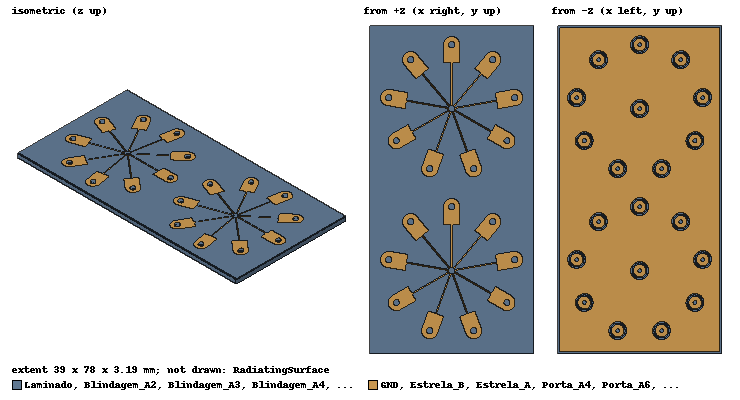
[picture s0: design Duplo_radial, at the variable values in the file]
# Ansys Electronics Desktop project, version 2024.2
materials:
  vacuum: permittivity=1
  ZYF300CA_C: permittivity=2.94 dielectric_loss_tangent=0.0016
  SAC305: permeability=1 conductivity=7575758
  PTFE_UT141: permittivity=2.036 dielectric_loss_tangent=0.0002
  copper: permeability=0.999991 conductivity=58000000

design Duplo_radial (HFSS, HFSS Hybrid Modal Network, model units mm)
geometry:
  Laminado [ZYF300CA_C] = box(corner=(-19.5mm, -39mm, 0mm), size=(39mm, 78mm, 1.52mm))
  GND = polyline(z=0mm, xy in mm: (-18.98, -38.48) (18.98, -38.48) (18.98, 38.48) (-18.98, 38.48) (-18.98, -38.48), closed, covered)
  Estrela_B = polyline(z=1.52mm, xy in mm: (-3.83186877, 3.59983476) (-4.02197034, 3.43312016) (-4.23220618, 3.29264506) (-4.4589791, 3.18081303) (-4.69840896, 3.09953754) (-4.94639905, 3.05020925) (-5.19870618, 3.03367216) (-5.45101331, 3.05020925) (-5.69900339, 3.09953754) (-5.93843325, 3.18081303) (-6.16520618, 3.29264506) (-6.37544202, 3.43312016) (-6.56554359, 3.59983476) (-6.73225819, 3.78993632) (-6.87273328, 4.00017216) (-6.98456531, 4.22694509) (-7.0658408, 4.46637495) (-7.1151691, 4.71436503) (-7.13170618, 4.96667216) (-7.1151691, 5.21897929) (-7.0658408, 5.46696938) (-7.01167434, 5.62653861) (-7.01513201, 5.6277971) (-5.54307732, 9.67223414) (-3.85585922, 9.05813697) (-0.41931985, 18.49995129) (-0.43, 18.50521815) (-0.52353483, 18.56771613) (-0.60811183, 18.64188817) (-0.66531093, 18.70711123) (-9.3674628, 13.68292151) (-8.4697128, 12.12797289) (-12.19708614, 9.97597289) (-12.42385906, 9.86414086) (-12.66328892, 9.78286538) (-12.91127901, 9.73353708) (-13.16358614, 9.717) (-13.41589327, 9.73353708) (-13.66388335, 9.78286538) (-13.90331321, 9.86414086) (-14.13008614, 9.97597289) (-14.34032198, 10.11644799) (-14.53042355, 10.28316259) (-14.69713814, 10.47326416) (-14.83761324, 10.6835) (-14.94944527, 10.91027293) (-15.03072076, 11.14970279) (-15.08004905, 11.39769287) (-15.09658614, 11.65) (-15.08004905, 11.90230713) (-15.03072076, 12.15029721) (-14.94944527, 12.38972707) (-14.83761324, 12.6165) (-14.69713814, 12.82673584) (-14.53042355, 13.01683741) (-14.34032198, 13.18355201) (-14.13008614, 13.32402711) (-14.13008614, 13.32402711) (-10.4027128, 15.47602711) (-9.5049628, 13.92107849) (-0.80281093, 18.94526822) (-0.83069621, 19.02741562) (-0.85264258, 19.13774747) (-0.86, 19.25) (-0.85922117, 19.26188271) (-10.7543419, 21.00665948) (-11.0661272, 19.23843716) (-15.30473977, 19.98581891) (-15.30410082, 19.98944259) (-15.46937506, 20.02231768) (-15.70880492, 20.10359316) (-15.93557785, 20.2154252) (-16.14581369, 20.35590029) (-16.33591525, 20.52261489) (-16.50262985, 20.71271646) (-16.64310495, 20.9229523) (-16.75493698, 21.14972523) (-16.83621247, 21.38915509) (-16.88554076, 21.63714517) (-16.90207785, 21.8894523) (-16.88554076, 22.14175943) (-16.83621247, 22.38974951) (-16.75493698, 22.62917938) (-16.64310495, 22.8559523) (-16.50262985, 23.06618814) (-16.33591525, 23.25628971) (-16.14581369, 23.42300431) (-15.93557785, 23.56347941) (-15.70880492, 23.67531144) (-15.46937506, 23.75658692) (-15.22138498, 23.80591522) (-14.96907785, 23.8224523) (-14.71677072, 23.80591522) (-14.63405487, 23.78946201) (-14.63341592, 23.79308569) (-10.39480335, 23.04570393) (-10.70658865, 21.27748161) (-0.81035469, 19.53250856) (-0.7945364, 19.57910775) (-0.74478185, 19.68) (-0.68228387, 19.77353483) (-0.64983693, 19.81053347) (-7.10914491, 27.50843696) (-8.4845777, 26.3543118) (-11.25113558, 29.65136709) (-11.24831686, 29.65373227) (-11.30392367, 29.71713969) (-11.44439877, 29.92737554) (-11.5562308, 30.15414846) (-11.63750629, 30.39357832) (-11.68683458, 30.64156841) (-11.70337167, 30.89387554) (-11.68683458, 31.14618266) (-11.63750629, 31.39417275) (-11.5562308, 31.63360261) (-11.44439877, 31.86037554) (-11.30392367, 32.07061138) (-11.13720908, 32.26071294) (-10.94710751, 32.42742754) (-10.73687167, 32.56790264) (-10.51009874, 32.67973467) (-10.27066888, 32.76101016) (-10.0226788, 32.81033845) (-9.77037167, 32.82687554) (-9.51806454, 32.81033845) (-9.27007445, 32.76101016) (-9.03064459, 32.67973467) (-8.80387167, 32.56790264) (-8.59363582, 32.42742754) (-8.40353426, 32.26071294) (-8.29242648, 32.1340188) (-8.28960776, 32.13638398) (-5.52304989, 28.8393287) (-6.89848268, 27.68520355) (-0.43990132, 19.988166) (-0.43, 19.99478185) (-0.32910775, 20.0445364) (-0.22258438, 20.08069621) (-0.1375, 20.09762055) (-0.1375, 30.146) (-1.933, 30.146) (-1.933, 34.45) (-1.91646292, 34.70230713) (-1.86713462, 34.95029721) (-1.78585914, 35.18972707) (-1.67402711, 35.4165) (-1.53355201, 35.62673584) (-1.36683741, 35.81683741) (-1.17673584, 35.98355201) (-0.9665, 36.12402711) (-0.73972707, 36.23585914) (-0.50029721, 36.31713462) (-0.25230713, 36.36646292) (0, 36.383) (0.25230713, 36.36646292) (0.50029721, 36.31713462) (0.73972707, 36.23585914) (0.9665, 36.12402711) (1.17673584, 35.98355201) (1.36683741, 35.81683741) (1.53355201, 35.62673584) (1.67402711, 35.4165) (1.78585914, 35.18972707) (1.86713462, 34.95029721) (1.91646292, 34.70230713) (1.933, 34.45) (1.933, 30.146) (0.1375, 30.146) (0.1375, 20.09762055) (0.22258438, 20.08069621) (0.32910775, 20.0445364) (0.43, 19.99478185) (0.43990132, 19.988166) (6.89848268, 27.68520355) (5.52304989, 28.8393287) (8.28960776, 32.13638398) (8.29242648, 32.1340188) (8.40353426, 32.26071294) (8.59363582, 32.42742754) (8.80387167, 32.56790264) (9.03064459, 32.67973467) (9.27007445, 32.76101016) (9.51806454, 32.81033845) (9.77037167, 32.82687554) (10.0226788, 32.81033845) (10.27066888, 32.76101016) (10.51009874, 32.67973467) (10.73687167, 32.56790264) (10.94710751, 32.42742754) (11.13720908, 32.26071294) (11.30392367, 32.07061138) (11.44439877, 31.86037554) (11.5562308, 31.63360261) (11.63750629, 31.39417275) (11.68683458, 31.14618266) (11.70337167, 30.89387554) (11.68683458, 30.64156841) (11.63750629, 30.39357832) (11.5562308, 30.15414846) (11.44439877, 29.92737554) (11.30392367, 29.71713969) (11.24831686, 29.65373227) (11.25113558, 29.65136709) (8.4845777, 26.3543118) (7.10914491, 27.50843696) (0.64983693, 19.81053347) (0.68228387, 19.77353483) (0.74478185, 19.68) (0.7945364, 19.57910775) (0.81035469, 19.53250856) (10.70658865, 21.27748161) (10.39480335, 23.04570393) (14.63341592, 23.79308569) (14.63405487, 23.78946201) (14.71677072, 23.80591522) (14.96907785, 23.8224523) (15.22138498, 23.80591522) (15.46937506, 23.75658692) (15.70880492, 23.67531144) (15.93557785, 23.56347941) (16.14581369, 23.42300431) (16.33591525, 23.25628971) (16.50262985, 23.06618814) (16.64310495, 22.8559523) (16.75493698, 22.62917938) (16.83621247, 22.38974951) (16.88554076, 22.14175943) (16.90207785, 21.8894523) (16.88554076, 21.63714517) (16.83621247, 21.38915509) (16.75493698, 21.14972523) (16.64310495, 20.9229523) (16.50262985, 20.71271646) (16.33591525, 20.52261489) (16.14581369, 20.35590029) (15.93557785, 20.2154252) (15.70880492, 20.10359316) (15.46937506, 20.02231768) (15.30410082, 19.98944259) (15.30473977, 19.98581891) (11.0661272, 19.23843716) (10.7543419, 21.00665948) (0.85922117, 19.26188271) (0.86, 19.25) (0.85264258, 19.13774747) (0.83069621, 19.02741562) (0.80281093, 18.94526822) (9.5049628, 13.92107849) (10.4027128, 15.47602711) (14.13008614, 13.32402711) (14.13008614, 13.32402711) (14.34032198, 13.18355201) (14.53042355, 13.01683741) (14.69713814, 12.82673584) (14.83761324, 12.6165) (14.94944527, 12.38972707) (15.03072076, 12.15029721) (15.08004905, 11.90230713) (15.09658614, 11.65) (15.08004905, 11.39769287) (15.03072076, 11.14970279) (14.94944527, 10.91027293) (14.83761324, 10.6835) (14.69713814, 10.47326416) (14.53042355, 10.28316259) (14.34032198, 10.11644799) (14.13008614, 9.97597289) (13.90331321, 9.86414086) (13.66388335, 9.78286538) (13.41589327, 9.73353708) (13.16358614, 9.717) (12.91127901, 9.73353708) (12.66328892, 9.78286538) (12.42385906, 9.86414086) (12.19708614, 9.97597289) (12.19708614, 9.97597289) (8.4697128, 12.12797289) (9.3674628, 13.68292151) (0.66531093, 18.70711123) (0.60811183, 18.64188817) (0.52353483, 18.56771613) (0.43, 18.50521815) (0.41931985, 18.49995129) (3.85585922, 9.05813697) (5.54307732, 9.67223414) (7.01513201, 5.6277971) (7.01167434, 5.62653861) (7.0658408, 5.46696938) (7.1151691, 5.21897929) (7.13170618, 4.96667216) (7.1151691, 4.71436503) (7.0658408, 4.46637495) (6.98456531, 4.22694509) (6.87273328, 4.00017216) (6.73225819, 3.78993632) (6.56554359, 3.59983476) (6.37544202, 3.43312016) (6.16520618, 3.29264506) (5.93843325, 3.18081303) (5.69900339, 3.09953754)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, closed, covered)
  Estrela_A = polyline(z=1.52mm, xy in mm: (-3.83186877, -34.90016524) (-4.02197034, -35.06687984) (-4.23220618, -35.20735494) (-4.4589791, -35.31918697) (-4.69840896, -35.40046246) (-4.94639905, -35.44979075) (-5.19870618, -35.46632784) (-5.45101331, -35.44979075) (-5.69900339, -35.40046246) (-5.93843325, -35.31918697) (-6.16520618, -35.20735494) (-6.37544202, -35.06687984) (-6.56554359, -34.90016524) (-6.73225819, -34.71006368) (-6.87273328, -34.49982784) (-6.98456531, -34.27305491) (-7.0658408, -34.03362505) (-7.1151691, -33.78563497) (-7.13170618, -33.53332784) (-7.1151691, -33.28102071) (-7.0658408, -33.03303062) (-7.01167434, -32.87346139) (-7.01513201, -32.8722029) (-5.54307732, -28.82776586) (-3.85585922, -29.44186303) (-0.41931985, -20.00004871) (-0.43, -19.99478185) (-0.52353483, -19.93228387) (-0.60811183, -19.85811183) (-0.66531093, -19.79288877) (-9.3674628, -24.81707849) (-8.4697128, -26.37202711) (-12.19708614, -28.52402711) (-12.19708614, -28.52402711) (-12.42385906, -28.63585914) (-12.66328892, -28.71713462) (-12.91127901, -28.76646292) (-13.16358614, -28.783) (-13.41589327, -28.76646292) (-13.66388335, -28.71713462) (-13.90331321, -28.63585914) (-14.13008614, -28.52402711) (-14.34032198, -28.38355201) (-14.53042355, -28.21683741) (-14.69713814, -28.02673584) (-14.83761324, -27.8165) (-14.94944527, -27.58972707) (-15.03072076, -27.35029721) (-15.08004905, -27.10230713) (-15.09658614, -26.85) (-15.08004905, -26.59769287) (-15.03072076, -26.34970279) (-14.94944527, -26.11027293) (-14.83761324, -25.8835) (-14.69713814, -25.67326416) (-14.53042355, -25.48316259) (-14.34032198, -25.31644799) (-14.13008614, -25.17597289) (-14.13008614, -25.17597289) (-10.4027128, -23.02397289) (-9.5049628, -24.57892151) (-0.80281093, -19.55473178) (-0.83069621, -19.47258438) (-0.85264258, -19.36225253) (-0.86, -19.25) (-0.85922117, -19.23811729) (-10.7543419, -17.49334052) (-11.0661272, -19.26156284) (-15.30473977, -18.51418109) (-15.30410082, -18.51055741) (-15.46937506, -18.47768232) (-15.70880492, -18.39640684) (-15.93557785, -18.2845748) (-16.14581369, -18.14409971) (-16.33591525, -17.97738511) (-16.50262985, -17.78728354) (-16.64310495, -17.5770477) (-16.75493698, -17.35027477) (-16.83621247, -17.11084491) (-16.88554076, -16.86285483) (-16.90207785, -16.6105477) (-16.88554076, -16.35824057) (-16.83621247, -16.11025049) (-16.75493698, -15.87082062) (-16.64310495, -15.6440477) (-16.50262985, -15.43381186) (-16.33591525, -15.24371029) (-16.14581369, -15.07699569) (-15.93557785, -14.93652059) (-15.70880492, -14.82468856) (-15.46937506, -14.74341308) (-15.22138498, -14.69408478) (-14.96907785, -14.6775477) (-14.71677072, -14.69408478) (-14.63405487, -14.71053799) (-14.63341592, -14.70691431) (-10.39480335, -15.45429607) (-10.70658865, -17.22251839) (-0.81035469, -18.96749144) (-0.7945364, -18.92089225) (-0.74478185, -18.82) (-0.68228387, -18.72646517) (-0.64983693, -18.68946653) (-7.10914491, -10.99156304) (-8.4845777, -12.1456882) (-11.25113558, -8.84863291) (-11.24831686, -8.84626773) (-11.30392367, -8.78286031) (-11.44439877, -8.57262446) (-11.5562308, -8.34585154) (-11.63750629, -8.10642168) (-11.68683458, -7.85843159) (-11.70337167, -7.60612446) (-11.68683458, -7.35381734) (-11.63750629, -7.10582725) (-11.5562308, -6.86639739) (-11.44439877, -6.63962446) (-11.30392367, -6.42938862) (-11.13720908, -6.23928706) (-10.94710751, -6.07257246) (-10.73687167, -5.93209736) (-10.51009874, -5.82026533) (-10.27066888, -5.73898984) (-10.0226788, -5.68966155) (-9.77037167, -5.67312446) (-9.51806454, -5.68966155) (-9.27007445, -5.73898984) (-9.03064459, -5.82026533) (-8.80387167, -5.93209736) (-8.59363582, -6.07257246) (-8.40353426, -6.23928706) (-8.29242648, -6.3659812) (-8.28960776, -6.36361602) (-5.52304989, -9.6606713) (-6.89848268, -10.81479645) (-0.43990132, -18.511834) (-0.43, -18.50521815) (-0.32910775, -18.4554636) (-0.22258438, -18.41930379) (-0.1375, -18.40237945) (-0.1375, -8.354) (-1.933, -8.354) (-1.933, -4.05) (-1.933, -4.05) (-1.91646292, -3.79769287) (-1.86713462, -3.54970279) (-1.78585914, -3.31027293) (-1.67402711, -3.0835) (-1.53355201, -2.87326416) (-1.36683741, -2.68316259) (-1.17673584, -2.51644799) (-0.9665, -2.37597289) (-0.73972707, -2.26414086) (-0.50029721, -2.18286538) (-0.25230713, -2.13353708) (0, -2.117) (0.25230713, -2.13353708) (0.50029721, -2.18286538) (0.73972707, -2.26414086) (0.9665, -2.37597289) (1.17673584, -2.51644799) (1.36683741, -2.68316259) (1.53355201, -2.87326416) (1.67402711, -3.0835) (1.78585914, -3.31027293) (1.86713462, -3.54970279) (1.91646292, -3.79769287) (1.933, -4.05) (1.933, -4.05) (1.933, -8.354) (0.1375, -8.354) (0.1375, -18.40237945) (0.22258438, -18.41930379) (0.32910775, -18.4554636) (0.43, -18.50521815) (0.43990132, -18.511834) (6.89848268, -10.81479645) (5.52304989, -9.6606713) (8.28960776, -6.36361602) (8.29242648, -6.3659812) (8.40353426, -6.23928706) (8.59363582, -6.07257246) (8.80387167, -5.93209736) (9.03064459, -5.82026533) (9.27007445, -5.73898984) (9.51806454, -5.68966155) (9.77037167, -5.67312446) (10.0226788, -5.68966155) (10.27066888, -5.73898984) (10.51009874, -5.82026533) (10.73687167, -5.93209736) (10.94710751, -6.07257246) (11.13720908, -6.23928706) (11.30392367, -6.42938862) (11.44439877, -6.63962446) (11.5562308, -6.86639739) (11.63750629, -7.10582725) (11.68683458, -7.35381734) (11.70337167, -7.60612446) (11.68683458, -7.85843159) (11.63750629, -8.10642168) (11.5562308, -8.34585154) (11.44439877, -8.57262446) (11.30392367, -8.78286031) (11.24831686, -8.84626773) (11.25113558, -8.84863291) (8.4845777, -12.1456882) (7.10914491, -10.99156304) (0.64983693, -18.68946653) (0.68228387, -18.72646517) (0.74478185, -18.82) (0.7945364, -18.92089225) (0.81035469, -18.96749144) (10.70658865, -17.22251839) (10.39480335, -15.45429607) (14.63341592, -14.70691431) (14.63405487, -14.71053799) (14.71677072, -14.69408478) (14.96907785, -14.6775477) (15.22138498, -14.69408478) (15.46937506, -14.74341308) (15.70880492, -14.82468856) (15.93557785, -14.93652059) (16.14581369, -15.07699569) (16.33591525, -15.24371029) (16.50262985, -15.43381186) (16.64310495, -15.6440477) (16.75493698, -15.87082062) (16.83621247, -16.11025049) (16.88554076, -16.35824057) (16.90207785, -16.6105477) (16.88554076, -16.86285483) (16.83621247, -17.11084491) (16.75493698, -17.35027477) (16.64310495, -17.5770477) (16.50262985, -17.78728354) (16.33591525, -17.97738511) (16.14581369, -18.14409971) (15.93557785, -18.2845748) (15.70880492, -18.39640684) (15.46937506, -18.47768232) (15.30410082, -18.51055741) (15.30473977, -18.51418109) (11.0661272, -19.26156284) (10.7543419, -17.49334052) (0.85922117, -19.23811729) (0.86, -19.25) (0.85264258, -19.36225253) (0.83069621, -19.47258438) (0.80281093, -19.55473178) (9.5049628, -24.57892151) (10.4027128, -23.02397289) (14.13008614, -25.17597289) (14.13008614, -25.17597289) (14.34032198, -25.31644799) (14.53042355, -25.48316259) (14.69713814, -25.67326416) (14.83761324, -25.8835) (14.94944527, -26.11027293) (15.03072076, -26.34970279) (15.08004905, -26.59769287) (15.09658614, -26.85) (15.08004905, -27.10230713) (15.03072076, -27.35029721) (14.94944527, -27.58972707) (14.83761324, -27.8165) (14.69713814, -28.02673584) (14.53042355, -28.21683741) (14.34032198, -28.38355201) (14.13008614, -28.52402711) (13.90331321, -28.63585914) (13.66388335, -28.71713462) (13.41589327, -28.76646292) (13.16358614, -28.783) (12.91127901, -28.76646292) (12.66328892, -28.71713462) (12.42385906, -28.63585914) (12.19708614, -28.52402711) (12.19708614, -28.52402711) (8.4697128, -26.37202711) (9.3674628, -24.81707849) (0.66531093, -19.79288877) (0.60811183, -19.85811183) (0.52353483, -19.93228387) (0.43, -19.99478185) (0.41931985, -20.00004871) (3.85585922, -29.44186303) (5.54307732, -28.82776586) (7.01513201, -32.8722029) (7.01167434, -32.87346139) (7.0658408, -33.03303062) (7.1151691, -33.28102071) (7.13170618, -33.53332784) (7.1151691, -33.78563497) (7.0658408, -34.03362505) (6.98456531, -34.27305491) (6.87273328, -34.49982784) (6.73225819, -34.71006368) (6.56554359, -34.90016524) (6.37544202, -35.06687984)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, closed, covered)
  Abertura_A_IN = circle(normal=Z, centre=(0mm, -19.25mm, 0mm), radius=1.515mm, segments=24)
  Pino_A_IN [copper] = cylinder(axis=Z, base_centre=(0mm, -19.25mm, 0mm), radius=0.525mm, height=1.52mm, segments=24)
  Anel_A_IN = circle(normal=Z, centre=(0mm, -19.25mm, 0mm), radius=0.73mm, segments=24)
  Blindagem_A_IN [copper] = cylinder(axis=Z, base_centre=(0mm, -19.25mm, -1.5mm), radius=1.7905mm, height=1.5mm, segments=24)
  PTFE_A_IN [PTFE_UT141] = cylinder(axis=Z, base_centre=(0mm, -19.25mm, -1.5mm), radius=1.515mm, height=1.5mm, segments=24)
  PTFE_A_IN_1 = PTFE_A_IN.copy()
  Blindagem_A_IN.subtract(PTFE_A_IN_1)
  Central_A_IN [copper] = cylinder(axis=Z, base_centre=(0mm, -19.25mm, -1.5mm), radius=0.45975mm, height=1.5mm, segments=24)
  Central_A_IN_1 = Central_A_IN.copy()
  PTFE_A_IN.subtract(Central_A_IN_1)
  Solda_ext_A_IN [SAC305] = cylinder(axis=Z, base_centre=(0mm, -19.25mm, -0.18mm), radius=2.13mm, height=0.18mm, segments=24)
  Recorte_ext_A_IN = cylinder(axis=Z, base_centre=(0mm, -19.25mm, -0.18mm), radius=1.7905mm, height=0.18mm, segments=24)
  Solda_ext_A_IN.subtract(Recorte_ext_A_IN)
  Solda_top_A_IN [SAC305] = cylinder(axis=Z, base_centre=(0mm, -19.25mm, 1.52mm), radius=0.74mm, height=0.17mm, segments=24)
  Abertura_A1 = circle(normal=Z, centre=(-14.96907785mm, -16.6105477mm, 0mm), radius=1.515mm, segments=24)
  Pino_A1 [copper] = cylinder(axis=Z, base_centre=(-14.96907785mm, -16.6105477mm, 0mm), radius=0.525mm, height=1.52mm, segments=24)
  Anel_A1 = circle(normal=Z, centre=(-14.96907785mm, -16.6105477mm, 0mm), radius=0.73mm, segments=24)
  Blindagem_A1 [copper] = cylinder(axis=Z, base_centre=(-14.96907785mm, -16.6105477mm, -1.5mm), radius=1.7905mm, height=1.5mm, segments=24)
  PTFE_A1 [PTFE_UT141] = cylinder(axis=Z, base_centre=(-14.96907785mm, -16.6105477mm, -1.5mm), radius=1.515mm, height=1.5mm, segments=24)
  PTFE_A1_1 = PTFE_A1.copy()
  Blindagem_A1.subtract(PTFE_A1_1)
  Central_A1 [copper] = cylinder(axis=Z, base_centre=(-14.96907785mm, -16.6105477mm, -1.5mm), radius=0.45975mm, height=1.5mm, segments=24)
  Central_A1_1 = Central_A1.copy()
  PTFE_A1.subtract(Central_A1_1)
  Solda_ext_A1 [SAC305] = cylinder(axis=Z, base_centre=(-14.96907785mm, -16.6105477mm, -0.18mm), radius=2.13mm, height=0.18mm, segments=24)
  Recorte_ext_A1 = cylinder(axis=Z, base_centre=(-14.96907785mm, -16.6105477mm, -0.18mm), radius=1.7905mm, height=0.18mm, segments=24)
  Solda_ext_A1.subtract(Recorte_ext_A1)
  Solda_top_A1 [SAC305] = cylinder(axis=Z, base_centre=(-14.96907785mm, -16.6105477mm, 1.52mm), radius=0.74mm, height=0.17mm, segments=24)
  Abertura_A2 = circle(normal=Z, centre=(-13.16358614mm, -26.85mm, 0mm), radius=1.515mm, segments=24)
  Pino_A2 [copper] = cylinder(axis=Z, base_centre=(-13.16358614mm, -26.85mm, 0mm), radius=0.525mm, height=1.52mm, segments=24)
  Anel_A2 = circle(normal=Z, centre=(-13.16358614mm, -26.85mm, 0mm), radius=0.73mm, segments=24)
  Blindagem_A2 [copper] = cylinder(axis=Z, base_centre=(-13.16358614mm, -26.85mm, -1.5mm), radius=1.7905mm, height=1.5mm, segments=24)
  PTFE_A2 [PTFE_UT141] = cylinder(axis=Z, base_centre=(-13.16358614mm, -26.85mm, -1.5mm), radius=1.515mm, height=1.5mm, segments=24)
  PTFE_A2_1 = PTFE_A2.copy()
  Blindagem_A2.subtract(PTFE_A2_1)
  Central_A2 [copper] = cylinder(axis=Z, base_centre=(-13.16358614mm, -26.85mm, -1.5mm), radius=0.45975mm, height=1.5mm, segments=24)
  Central_A2_1 = Central_A2.copy()
  PTFE_A2.subtract(Central_A2_1)
  Solda_ext_A2 [SAC305] = cylinder(axis=Z, base_centre=(-13.16358614mm, -26.85mm, -0.18mm), radius=2.13mm, height=0.18mm, segments=24)
  Recorte_ext_A2 = cylinder(axis=Z, base_centre=(-13.16358614mm, -26.85mm, -0.18mm), radius=1.7905mm, height=0.18mm, segments=24)
  Solda_ext_A2.subtract(Recorte_ext_A2)
  Solda_top_A2 [SAC305] = cylinder(axis=Z, base_centre=(-13.16358614mm, -26.85mm, 1.52mm), radius=0.74mm, height=0.17mm, segments=24)
  Abertura_A3 = circle(normal=Z, centre=(-9.77037167mm, -7.60612446mm, 0mm), radius=1.515mm, segments=24)
  Pino_A3 [copper] = cylinder(axis=Z, base_centre=(-9.77037167mm, -7.60612446mm, 0mm), radius=0.525mm, height=1.52mm, segments=24)
  Anel_A3 = circle(normal=Z, centre=(-9.77037167mm, -7.60612446mm, 0mm), radius=0.73mm, segments=24)
  Blindagem_A3 [copper] = cylinder(axis=Z, base_centre=(-9.77037167mm, -7.60612446mm, -1.5mm), radius=1.7905mm, height=1.5mm, segments=24)
  PTFE_A3 [PTFE_UT141] = cylinder(axis=Z, base_centre=(-9.77037167mm, -7.60612446mm, -1.5mm), radius=1.515mm, height=1.5mm, segments=24)
  PTFE_A3_1 = PTFE_A3.copy()
  Blindagem_A3.subtract(PTFE_A3_1)
  Central_A3 [copper] = cylinder(axis=Z, base_centre=(-9.77037167mm, -7.60612446mm, -1.5mm), radius=0.45975mm, height=1.5mm, segments=24)
  Central_A3_1 = Central_A3.copy()
  PTFE_A3.subtract(Central_A3_1)
  Solda_ext_A3 [SAC305] = cylinder(axis=Z, base_centre=(-9.77037167mm, -7.60612446mm, -0.18mm), radius=2.13mm, height=0.18mm, segments=24)
  Recorte_ext_A3 = cylinder(axis=Z, base_centre=(-9.77037167mm, -7.60612446mm, -0.18mm), radius=1.7905mm, height=0.18mm, segments=24)
  Solda_ext_A3.subtract(Recorte_ext_A3)
  Solda_top_A3 [SAC305] = cylinder(axis=Z, base_centre=(-9.77037167mm, -7.60612446mm, 1.52mm), radius=0.74mm, height=0.17mm, segments=24)
  Abertura_A4 = circle(normal=Z, centre=(-5.19870618mm, -33.53332784mm, 0mm), radius=1.515mm, segments=24)
  Pino_A4 [copper] = cylinder(axis=Z, base_centre=(-5.19870618mm, -33.53332784mm, 0mm), radius=0.525mm, height=1.52mm, segments=24)
  Anel_A4 = circle(normal=Z, centre=(-5.19870618mm, -33.53332784mm, 0mm), radius=0.73mm, segments=24)
  Blindagem_A4 [copper] = cylinder(axis=Z, base_centre=(-5.19870618mm, -33.53332784mm, -1.5mm), radius=1.7905mm, height=1.5mm, segments=24)
  PTFE_A4 [PTFE_UT141] = cylinder(axis=Z, base_centre=(-5.19870618mm, -33.53332784mm, -1.5mm), radius=1.515mm, height=1.5mm, segments=24)
  PTFE_A4_1 = PTFE_A4.copy()
  Blindagem_A4.subtract(PTFE_A4_1)
  Central_A4 [copper] = cylinder(axis=Z, base_centre=(-5.19870618mm, -33.53332784mm, -1.5mm), radius=0.45975mm, height=1.5mm, segments=24)
  Central_A4_1 = Central_A4.copy()
  PTFE_A4.subtract(Central_A4_1)
  Solda_ext_A4 [SAC305] = cylinder(axis=Z, base_centre=(-5.19870618mm, -33.53332784mm, -0.18mm), radius=2.13mm, height=0.18mm, segments=24)
  Recorte_ext_A4 = cylinder(axis=Z, base_centre=(-5.19870618mm, -33.53332784mm, -0.18mm), radius=1.7905mm, height=0.18mm, segments=24)
  Solda_ext_A4.subtract(Recorte_ext_A4)
  Solda_top_A4 [SAC305] = cylinder(axis=Z, base_centre=(-5.19870618mm, -33.53332784mm, 1.52mm), radius=0.74mm, height=0.17mm, segments=24)
  Abertura_A5 = circle(normal=Z, centre=(0mm, -4.05mm, 0mm), radius=1.515mm, segments=24)
  Pino_A5 [copper] = cylinder(axis=Z, base_centre=(0mm, -4.05mm, 0mm), radius=0.525mm, height=1.52mm, segments=24)
  Anel_A5 = circle(normal=Z, centre=(0mm, -4.05mm, 0mm), radius=0.73mm, segments=24)
  Blindagem_A5 [copper] = cylinder(axis=Z, base_centre=(0mm, -4.05mm, -1.5mm), radius=1.7905mm, height=1.5mm, segments=24)
  PTFE_A5 [PTFE_UT141] = cylinder(axis=Z, base_centre=(0mm, -4.05mm, -1.5mm), radius=1.515mm, height=1.5mm, segments=24)
  PTFE_A5_1 = PTFE_A5.copy()
  Blindagem_A5.subtract(PTFE_A5_1)
  Central_A5 [copper] = cylinder(axis=Z, base_centre=(0mm, -4.05mm, -1.5mm), radius=0.45975mm, height=1.5mm, segments=24)
  Central_A5_1 = Central_A5.copy()
  PTFE_A5.subtract(Central_A5_1)
  Solda_ext_A5 [SAC305] = cylinder(axis=Z, base_centre=(0mm, -4.05mm, -0.18mm), radius=2.13mm, height=0.18mm, segments=24)
  Recorte_ext_A5 = cylinder(axis=Z, base_centre=(0mm, -4.05mm, -0.18mm), radius=1.7905mm, height=0.18mm, segments=24)
  Solda_ext_A5.subtract(Recorte_ext_A5)
  Solda_top_A5 [SAC305] = cylinder(axis=Z, base_centre=(0mm, -4.05mm, 1.52mm), radius=0.74mm, height=0.17mm, segments=24)
  Abertura_A6 = circle(normal=Z, centre=(5.19870618mm, -33.53332784mm, 0mm), radius=1.515mm, segments=24)
  Pino_A6 [copper] = cylinder(axis=Z, base_centre=(5.19870618mm, -33.53332784mm, 0mm), radius=0.525mm, height=1.52mm, segments=24)
  Anel_A6 = circle(normal=Z, centre=(5.19870618mm, -33.53332784mm, 0mm), radius=0.73mm, segments=24)
  Blindagem_A6 [copper] = cylinder(axis=Z, base_centre=(5.19870618mm, -33.53332784mm, -1.5mm), radius=1.7905mm, height=1.5mm, segments=24)
  PTFE_A6 [PTFE_UT141] = cylinder(axis=Z, base_centre=(5.19870618mm, -33.53332784mm, -1.5mm), radius=1.515mm, height=1.5mm, segments=24)
  PTFE_A6_1 = PTFE_A6.copy()
  Blindagem_A6.subtract(PTFE_A6_1)
  Central_A6 [copper] = cylinder(axis=Z, base_centre=(5.19870618mm, -33.53332784mm, -1.5mm), radius=0.45975mm, height=1.5mm, segments=24)
  Central_A6_1 = Central_A6.copy()
  PTFE_A6.subtract(Central_A6_1)
  Solda_ext_A6 [SAC305] = cylinder(axis=Z, base_centre=(5.19870618mm, -33.53332784mm, -0.18mm), radius=2.13mm, height=0.18mm, segments=24)
  Recorte_ext_A6 = cylinder(axis=Z, base_centre=(5.19870618mm, -33.53332784mm, -0.18mm), radius=1.7905mm, height=0.18mm, segments=24)
  Solda_ext_A6.subtract(Recorte_ext_A6)
  Solda_top_A6 [SAC305] = cylinder(axis=Z, base_centre=(5.19870618mm, -33.53332784mm, 1.52mm), radius=0.74mm, height=0.17mm, segments=24)
  Abertura_A7 = circle(normal=Z, centre=(9.77037167mm, -7.60612446mm, 0mm), radius=1.515mm, segments=24)
  Pino_A7 [copper] = cylinder(axis=Z, base_centre=(9.77037167mm, -7.60612446mm, 0mm), radius=0.525mm, height=1.52mm, segments=24)
  Anel_A7 = circle(normal=Z, centre=(9.77037167mm, -7.60612446mm, 0mm), radius=0.73mm, segments=24)
  Blindagem_A7 [copper] = cylinder(axis=Z, base_centre=(9.77037167mm, -7.60612446mm, -1.5mm), radius=1.7905mm, height=1.5mm, segments=24)
  PTFE_A7 [PTFE_UT141] = cylinder(axis=Z, base_centre=(9.77037167mm, -7.60612446mm, -1.5mm), radius=1.515mm, height=1.5mm, segments=24)
  PTFE_A7_1 = PTFE_A7.copy()
  Blindagem_A7.subtract(PTFE_A7_1)
  Central_A7 [copper] = cylinder(axis=Z, base_centre=(9.77037167mm, -7.60612446mm, -1.5mm), radius=0.45975mm, height=1.5mm, segments=24)
  Central_A7_1 = Central_A7.copy()
  PTFE_A7.subtract(Central_A7_1)
  Solda_ext_A7 [SAC305] = cylinder(axis=Z, base_centre=(9.77037167mm, -7.60612446mm, -0.18mm), radius=2.13mm, height=0.18mm, segments=24)
  Recorte_ext_A7 = cylinder(axis=Z, base_centre=(9.77037167mm, -7.60612446mm, -0.18mm), radius=1.7905mm, height=0.18mm, segments=24)
  Solda_ext_A7.subtract(Recorte_ext_A7)
  Solda_top_A7 [SAC305] = cylinder(axis=Z, base_centre=(9.77037167mm, -7.60612446mm, 1.52mm), radius=0.74mm, height=0.17mm, segments=24)
  Abertura_A8 = circle(normal=Z, centre=(13.16358614mm, -26.85mm, 0mm), radius=1.515mm, segments=24)
  Pino_A8 [copper] = cylinder(axis=Z, base_centre=(13.16358614mm, -26.85mm, 0mm), radius=0.525mm, height=1.52mm, segments=24)
  Anel_A8 = circle(normal=Z, centre=(13.16358614mm, -26.85mm, 0mm), radius=0.73mm, segments=24)
  Blindagem_A8 [copper] = cylinder(axis=Z, base_centre=(13.16358614mm, -26.85mm, -1.5mm), radius=1.7905mm, height=1.5mm, segments=24)
  PTFE_A8 [PTFE_UT141] = cylinder(axis=Z, base_centre=(13.16358614mm, -26.85mm, -1.5mm), radius=1.515mm, height=1.5mm, segments=24)
  PTFE_A8_1 = PTFE_A8.copy()
  Blindagem_A8.subtract(PTFE_A8_1)
  Central_A8 [copper] = cylinder(axis=Z, base_centre=(13.16358614mm, -26.85mm, -1.5mm), radius=0.45975mm, height=1.5mm, segments=24)
  Central_A8_1 = Central_A8.copy()
  PTFE_A8.subtract(Central_A8_1)
  Solda_ext_A8 [SAC305] = cylinder(axis=Z, base_centre=(13.16358614mm, -26.85mm, -0.18mm), radius=2.13mm, height=0.18mm, segments=24)
  Recorte_ext_A8 = cylinder(axis=Z, base_centre=(13.16358614mm, -26.85mm, -0.18mm), radius=1.7905mm, height=0.18mm, segments=24)
  Solda_ext_A8.subtract(Recorte_ext_A8)
  Solda_top_A8 [SAC305] = cylinder(axis=Z, base_centre=(13.16358614mm, -26.85mm, 1.52mm), radius=0.74mm, height=0.17mm, segments=24)
  Abertura_A9 = circle(normal=Z, centre=(14.96907785mm, -16.6105477mm, 0mm), radius=1.515mm, segments=24)
  Pino_A9 [copper] = cylinder(axis=Z, base_centre=(14.96907785mm, -16.6105477mm, 0mm), radius=0.525mm, height=1.52mm, segments=24)
  Anel_A9 = circle(normal=Z, centre=(14.96907785mm, -16.6105477mm, 0mm), radius=0.73mm, segments=24)
  Blindagem_A9 [copper] = cylinder(axis=Z, base_centre=(14.96907785mm, -16.6105477mm, -1.5mm), radius=1.7905mm, height=1.5mm, segments=24)
  PTFE_A9 [PTFE_UT141] = cylinder(axis=Z, base_centre=(14.96907785mm, -16.6105477mm, -1.5mm), radius=1.515mm, height=1.5mm, segments=24)
  PTFE_A9_1 = PTFE_A9.copy()
  Blindagem_A9.subtract(PTFE_A9_1)
  Central_A9 [copper] = cylinder(axis=Z, base_centre=(14.96907785mm, -16.6105477mm, -1.5mm), radius=0.45975mm, height=1.5mm, segments=24)
  Central_A9_1 = Central_A9.copy()
  PTFE_A9.subtract(Central_A9_1)
  Solda_ext_A9 [SAC305] = cylinder(axis=Z, base_centre=(14.96907785mm, -16.6105477mm, -0.18mm), radius=2.13mm, height=0.18mm, segments=24)
  Recorte_ext_A9 = cylinder(axis=Z, base_centre=(14.96907785mm, -16.6105477mm, -0.18mm), radius=1.7905mm, height=0.18mm, segments=24)
  Solda_ext_A9.subtract(Recorte_ext_A9)
  Solda_top_A9 [SAC305] = cylinder(axis=Z, base_centre=(14.96907785mm, -16.6105477mm, 1.52mm), radius=0.74mm, height=0.17mm, segments=24)
  Abertura_B_IN = circle(normal=Z, centre=(0mm, 19.25mm, 0mm), radius=1.515mm, segments=24)
  Pino_B_IN [copper] = cylinder(axis=Z, base_centre=(0mm, 19.25mm, 0mm), radius=0.525mm, height=1.52mm, segments=24)
  Anel_B_IN = circle(normal=Z, centre=(0mm, 19.25mm, 0mm), radius=0.73mm, segments=24)
  Blindagem_B_IN [copper] = cylinder(axis=Z, base_centre=(0mm, 19.25mm, -1.5mm), radius=1.7905mm, height=1.5mm, segments=24)
  PTFE_B_IN [PTFE_UT141] = cylinder(axis=Z, base_centre=(0mm, 19.25mm, -1.5mm), radius=1.515mm, height=1.5mm, segments=24)
  PTFE_B_IN_1 = PTFE_B_IN.copy()
  Blindagem_B_IN.subtract(PTFE_B_IN_1)
  Central_B_IN [copper] = cylinder(axis=Z, base_centre=(0mm, 19.25mm, -1.5mm), radius=0.45975mm, height=1.5mm, segments=24)
  Central_B_IN_1 = Central_B_IN.copy()
  PTFE_B_IN.subtract(Central_B_IN_1)
  Solda_ext_B_IN [SAC305] = cylinder(axis=Z, base_centre=(0mm, 19.25mm, -0.18mm), radius=2.13mm, height=0.18mm, segments=24)
  Recorte_ext_B_IN = cylinder(axis=Z, base_centre=(0mm, 19.25mm, -0.18mm), radius=1.7905mm, height=0.18mm, segments=24)
  Solda_ext_B_IN.subtract(Recorte_ext_B_IN)
  Solda_top_B_IN [SAC305] = cylinder(axis=Z, base_centre=(0mm, 19.25mm, 1.52mm), radius=0.74mm, height=0.17mm, segments=24)
  Abertura_B1 = circle(normal=Z, centre=(-14.96907785mm, 21.8894523mm, 0mm), radius=1.515mm, segments=24)
  Pino_B1 [copper] = cylinder(axis=Z, base_centre=(-14.96907785mm, 21.8894523mm, 0mm), radius=0.525mm, height=1.52mm, segments=24)
  Anel_B1 = circle(normal=Z, centre=(-14.96907785mm, 21.8894523mm, 0mm), radius=0.73mm, segments=24)
  Blindagem_B1 [copper] = cylinder(axis=Z, base_centre=(-14.96907785mm, 21.8894523mm, -1.5mm), radius=1.7905mm, height=1.5mm, segments=24)
  PTFE_B1 [PTFE_UT141] = cylinder(axis=Z, base_centre=(-14.96907785mm, 21.8894523mm, -1.5mm), radius=1.515mm, height=1.5mm, segments=24)
  PTFE_B1_1 = PTFE_B1.copy()
  Blindagem_B1.subtract(PTFE_B1_1)
  Central_B1 [copper] = cylinder(axis=Z, base_centre=(-14.96907785mm, 21.8894523mm, -1.5mm), radius=0.45975mm, height=1.5mm, segments=24)
  Central_B1_1 = Central_B1.copy()
  PTFE_B1.subtract(Central_B1_1)
  Solda_ext_B1 [SAC305] = cylinder(axis=Z, base_centre=(-14.96907785mm, 21.8894523mm, -0.18mm), radius=2.13mm, height=0.18mm, segments=24)
  Recorte_ext_B1 = cylinder(axis=Z, base_centre=(-14.96907785mm, 21.8894523mm, -0.18mm), radius=1.7905mm, height=0.18mm, segments=24)
  Solda_ext_B1.subtract(Recorte_ext_B1)
  Solda_top_B1 [SAC305] = cylinder(axis=Z, base_centre=(-14.96907785mm, 21.8894523mm, 1.52mm), radius=0.74mm, height=0.17mm, segments=24)
  Abertura_B2 = circle(normal=Z, centre=(-13.16358614mm, 11.65mm, 0mm), radius=1.515mm, segments=24)
  Pino_B2 [copper] = cylinder(axis=Z, base_centre=(-13.16358614mm, 11.65mm, 0mm), radius=0.525mm, height=1.52mm, segments=24)
  Anel_B2 = circle(normal=Z, centre=(-13.16358614mm, 11.65mm, 0mm), radius=0.73mm, segments=24)
  Blindagem_B2 [copper] = cylinder(axis=Z, base_centre=(-13.16358614mm, 11.65mm, -1.5mm), radius=1.7905mm, height=1.5mm, segments=24)
  PTFE_B2 [PTFE_UT141] = cylinder(axis=Z, base_centre=(-13.16358614mm, 11.65mm, -1.5mm), radius=1.515mm, height=1.5mm, segments=24)
  PTFE_B2_1 = PTFE_B2.copy()
  Blindagem_B2.subtract(PTFE_B2_1)
  Central_B2 [copper] = cylinder(axis=Z, base_centre=(-13.16358614mm, 11.65mm, -1.5mm), radius=0.45975mm, height=1.5mm, segments=24)
  Central_B2_1 = Central_B2.copy()
  PTFE_B2.subtract(Central_B2_1)
  Solda_ext_B2 [SAC305] = cylinder(axis=Z, base_centre=(-13.16358614mm, 11.65mm, -0.18mm), radius=2.13mm, height=0.18mm, segments=24)
  Recorte_ext_B2 = cylinder(axis=Z, base_centre=(-13.16358614mm, 11.65mm, -0.18mm), radius=1.7905mm, height=0.18mm, segments=24)
  Solda_ext_B2.subtract(Recorte_ext_B2)
  Solda_top_B2 [SAC305] = cylinder(axis=Z, base_centre=(-13.16358614mm, 11.65mm, 1.52mm), radius=0.74mm, height=0.17mm, segments=24)
  Abertura_B3 = circle(normal=Z, centre=(-9.77037167mm, 30.89387554mm, 0mm), radius=1.515mm, segments=24)
  Pino_B3 [copper] = cylinder(axis=Z, base_centre=(-9.77037167mm, 30.89387554mm, 0mm), radius=0.525mm, height=1.52mm, segments=24)
  Anel_B3 = circle(normal=Z, centre=(-9.77037167mm, 30.89387554mm, 0mm), radius=0.73mm, segments=24)
  Blindagem_B3 [copper] = cylinder(axis=Z, base_centre=(-9.77037167mm, 30.89387554mm, -1.5mm), radius=1.7905mm, height=1.5mm, segments=24)
  PTFE_B3 [PTFE_UT141] = cylinder(axis=Z, base_centre=(-9.77037167mm, 30.89387554mm, -1.5mm), radius=1.515mm, height=1.5mm, segments=24)
  PTFE_B3_1 = PTFE_B3.copy()
  Blindagem_B3.subtract(PTFE_B3_1)
  Central_B3 [copper] = cylinder(axis=Z, base_centre=(-9.77037167mm, 30.89387554mm, -1.5mm), radius=0.45975mm, height=1.5mm, segments=24)
  Central_B3_1 = Central_B3.copy()
  PTFE_B3.subtract(Central_B3_1)
  Solda_ext_B3 [SAC305] = cylinder(axis=Z, base_centre=(-9.77037167mm, 30.89387554mm, -0.18mm), radius=2.13mm, height=0.18mm, segments=24)
  Recorte_ext_B3 = cylinder(axis=Z, base_centre=(-9.77037167mm, 30.89387554mm, -0.18mm), radius=1.7905mm, height=0.18mm, segments=24)
  Solda_ext_B3.subtract(Recorte_ext_B3)
  Solda_top_B3 [SAC305] = cylinder(axis=Z, base_centre=(-9.77037167mm, 30.89387554mm, 1.52mm), radius=0.74mm, height=0.17mm, segments=24)
  Abertura_B4 = circle(normal=Z, centre=(-5.19870618mm, 4.96667216mm, 0mm), radius=1.515mm, segments=24)
  Pino_B4 [copper] = cylinder(axis=Z, base_centre=(-5.19870618mm, 4.96667216mm, 0mm), radius=0.525mm, height=1.52mm, segments=24)
  Anel_B4 = circle(normal=Z, centre=(-5.19870618mm, 4.96667216mm, 0mm), radius=0.73mm, segments=24)
  Blindagem_B4 [copper] = cylinder(axis=Z, base_centre=(-5.19870618mm, 4.96667216mm, -1.5mm), radius=1.7905mm, height=1.5mm, segments=24)
  PTFE_B4 [PTFE_UT141] = cylinder(axis=Z, base_centre=(-5.19870618mm, 4.96667216mm, -1.5mm), radius=1.515mm, height=1.5mm, segments=24)
  PTFE_B4_1 = PTFE_B4.copy()
  Blindagem_B4.subtract(PTFE_B4_1)
  Central_B4 [copper] = cylinder(axis=Z, base_centre=(-5.19870618mm, 4.96667216mm, -1.5mm), radius=0.45975mm, height=1.5mm, segments=24)
  Central_B4_1 = Central_B4.copy()
  PTFE_B4.subtract(Central_B4_1)
  Solda_ext_B4 [SAC305] = cylinder(axis=Z, base_centre=(-5.19870618mm, 4.96667216mm, -0.18mm), radius=2.13mm, height=0.18mm, segments=24)
  Recorte_ext_B4 = cylinder(axis=Z, base_centre=(-5.19870618mm, 4.96667216mm, -0.18mm), radius=1.7905mm, height=0.18mm, segments=24)
  Solda_ext_B4.subtract(Recorte_ext_B4)
  Solda_top_B4 [SAC305] = cylinder(axis=Z, base_centre=(-5.19870618mm, 4.96667216mm, 1.52mm), radius=0.74mm, height=0.17mm, segments=24)
  Abertura_B5 = circle(normal=Z, centre=(0mm, 34.45mm, 0mm), radius=1.515mm, segments=24)
  Pino_B5 [copper] = cylinder(axis=Z, base_centre=(0mm, 34.45mm, 0mm), radius=0.525mm, height=1.52mm, segments=24)
  Anel_B5 = circle(normal=Z, centre=(0mm, 34.45mm, 0mm), radius=0.73mm, segments=24)
  Blindagem_B5 [copper] = cylinder(axis=Z, base_centre=(0mm, 34.45mm, -1.5mm), radius=1.7905mm, height=1.5mm, segments=24)
  PTFE_B5 [PTFE_UT141] = cylinder(axis=Z, base_centre=(0mm, 34.45mm, -1.5mm), radius=1.515mm, height=1.5mm, segments=24)
  PTFE_B5_1 = PTFE_B5.copy()
  Blindagem_B5.subtract(PTFE_B5_1)
  Central_B5 [copper] = cylinder(axis=Z, base_centre=(0mm, 34.45mm, -1.5mm), radius=0.45975mm, height=1.5mm, segments=24)
  Central_B5_1 = Central_B5.copy()
  PTFE_B5.subtract(Central_B5_1)
  Solda_ext_B5 [SAC305] = cylinder(axis=Z, base_centre=(0mm, 34.45mm, -0.18mm), radius=2.13mm, height=0.18mm, segments=24)
  Recorte_ext_B5 = cylinder(axis=Z, base_centre=(0mm, 34.45mm, -0.18mm), radius=1.7905mm, height=0.18mm, segments=24)
  Solda_ext_B5.subtract(Recorte_ext_B5)
  Solda_top_B5 [SAC305] = cylinder(axis=Z, base_centre=(0mm, 34.45mm, 1.52mm), radius=0.74mm, height=0.17mm, segments=24)
  Abertura_B6 = circle(normal=Z, centre=(5.19870618mm, 4.96667216mm, 0mm), radius=1.515mm, segments=24)
  Pino_B6 [copper] = cylinder(axis=Z, base_centre=(5.19870618mm, 4.96667216mm, 0mm), radius=0.525mm, height=1.52mm, segments=24)
  Anel_B6 = circle(normal=Z, centre=(5.19870618mm, 4.96667216mm, 0mm), radius=0.73mm, segments=24)
  Blindagem_B6 [copper] = cylinder(axis=Z, base_centre=(5.19870618mm, 4.96667216mm, -1.5mm), radius=1.7905mm, height=1.5mm, segments=24)
  PTFE_B6 [PTFE_UT141] = cylinder(axis=Z, base_centre=(5.19870618mm, 4.96667216mm, -1.5mm), radius=1.515mm, height=1.5mm, segments=24)
  PTFE_B6_1 = PTFE_B6.copy()
  Blindagem_B6.subtract(PTFE_B6_1)
  Central_B6 [copper] = cylinder(axis=Z, base_centre=(5.19870618mm, 4.96667216mm, -1.5mm), radius=0.45975mm, height=1.5mm, segments=24)
  Central_B6_1 = Central_B6.copy()
  PTFE_B6.subtract(Central_B6_1)
  Solda_ext_B6 [SAC305] = cylinder(axis=Z, base_centre=(5.19870618mm, 4.96667216mm, -0.18mm), radius=2.13mm, height=0.18mm, segments=24)
  Recorte_ext_B6 = cylinder(axis=Z, base_centre=(5.19870618mm, 4.96667216mm, -0.18mm), radius=1.7905mm, height=0.18mm, segments=24)
  Solda_ext_B6.subtract(Recorte_ext_B6)
  Solda_top_B6 [SAC305] = cylinder(axis=Z, base_centre=(5.19870618mm, 4.96667216mm, 1.52mm), radius=0.74mm, height=0.17mm, segments=24)
  Abertura_B7 = circle(normal=Z, centre=(9.77037167mm, 30.89387554mm, 0mm), radius=1.515mm, segments=24)
  Pino_B7 [copper] = cylinder(axis=Z, base_centre=(9.77037167mm, 30.89387554mm, 0mm), radius=0.525mm, height=1.52mm, segments=24)
  Anel_B7 = circle(normal=Z, centre=(9.77037167mm, 30.89387554mm, 0mm), radius=0.73mm, segments=24)
  Blindagem_B7 [copper] = cylinder(axis=Z, base_centre=(9.77037167mm, 30.89387554mm, -1.5mm), radius=1.7905mm, height=1.5mm, segments=24)
  PTFE_B7 [PTFE_UT141] = cylinder(axis=Z, base_centre=(9.77037167mm, 30.89387554mm, -1.5mm), radius=1.515mm, height=1.5mm, segments=24)
  PTFE_B7_1 = PTFE_B7.copy()
  Blindagem_B7.subtract(PTFE_B7_1)
  Central_B7 [copper] = cylinder(axis=Z, base_centre=(9.77037167mm, 30.89387554mm, -1.5mm), radius=0.45975mm, height=1.5mm, segments=24)
  Central_B7_1 = Central_B7.copy()
  PTFE_B7.subtract(Central_B7_1)
  Solda_ext_B7 [SAC305] = cylinder(axis=Z, base_centre=(9.77037167mm, 30.89387554mm, -0.18mm), radius=2.13mm, height=0.18mm, segments=24)
  Recorte_ext_B7 = cylinder(axis=Z, base_centre=(9.77037167mm, 30.89387554mm, -0.18mm), radius=1.7905mm, height=0.18mm, segments=24)
  Solda_ext_B7.subtract(Recorte_ext_B7)
  Solda_top_B7 [SAC305] = cylinder(axis=Z, base_centre=(9.77037167mm, 30.89387554mm, 1.52mm), radius=0.74mm, height=0.17mm, segments=24)
  Abertura_B8 = circle(normal=Z, centre=(13.16358614mm, 11.65mm, 0mm), radius=1.515mm, segments=24)
  Pino_B8 [copper] = cylinder(axis=Z, base_centre=(13.16358614mm, 11.65mm, 0mm), radius=0.525mm, height=1.52mm, segments=24)
  Anel_B8 = circle(normal=Z, centre=(13.16358614mm, 11.65mm, 0mm), radius=0.73mm, segments=24)
  Blindagem_B8 [copper] = cylinder(axis=Z, base_centre=(13.16358614mm, 11.65mm, -1.5mm), radius=1.7905mm, height=1.5mm, segments=24)
  PTFE_B8 [PTFE_UT141] = cylinder(axis=Z, base_centre=(13.16358614mm, 11.65mm, -1.5mm), radius=1.515mm, height=1.5mm, segments=24)
  PTFE_B8_1 = PTFE_B8.copy()
  Blindagem_B8.subtract(PTFE_B8_1)
  Central_B8 [copper] = cylinder(axis=Z, base_centre=(13.16358614mm, 11.65mm, -1.5mm), radius=0.45975mm, height=1.5mm, segments=24)
  Central_B8_1 = Central_B8.copy()
  PTFE_B8.subtract(Central_B8_1)
  Solda_ext_B8 [SAC305] = cylinder(axis=Z, base_centre=(13.16358614mm, 11.65mm, -0.18mm), radius=2.13mm, height=0.18mm, segments=24)
  Recorte_ext_B8 = cylinder(axis=Z, base_centre=(13.16358614mm, 11.65mm, -0.18mm), radius=1.7905mm, height=0.18mm, segments=24)
  Solda_ext_B8.subtract(Recorte_ext_B8)
  Solda_top_B8 [SAC305] = cylinder(axis=Z, base_centre=(13.16358614mm, 11.65mm, 1.52mm), radius=0.74mm, height=0.17mm, segments=24)
  Abertura_B9 = circle(normal=Z, centre=(14.96907785mm, 21.8894523mm, 0mm), radius=1.515mm, segments=24)
  Pino_B9 [copper] = cylinder(axis=Z, base_centre=(14.96907785mm, 21.8894523mm, 0mm), radius=0.525mm, height=1.52mm, segments=24)
  Anel_B9 = circle(normal=Z, centre=(14.96907785mm, 21.8894523mm, 0mm), radius=0.73mm, segments=24)
  Blindagem_B9 [copper] = cylinder(axis=Z, base_centre=(14.96907785mm, 21.8894523mm, -1.5mm), radius=1.7905mm, height=1.5mm, segments=24)
  PTFE_B9 [PTFE_UT141] = cylinder(axis=Z, base_centre=(14.96907785mm, 21.8894523mm, -1.5mm), radius=1.515mm, height=1.5mm, segments=24)
  PTFE_B9_1 = PTFE_B9.copy()
  Blindagem_B9.subtract(PTFE_B9_1)
  Central_B9 [copper] = cylinder(axis=Z, base_centre=(14.96907785mm, 21.8894523mm, -1.5mm), radius=0.45975mm, height=1.5mm, segments=24)
  Central_B9_1 = Central_B9.copy()
  PTFE_B9.subtract(Central_B9_1)
  Solda_ext_B9 [SAC305] = cylinder(axis=Z, base_centre=(14.96907785mm, 21.8894523mm, -0.18mm), radius=2.13mm, height=0.18mm, segments=24)
  Recorte_ext_B9 = cylinder(axis=Z, base_centre=(14.96907785mm, 21.8894523mm, -0.18mm), radius=1.7905mm, height=0.18mm, segments=24)
  Solda_ext_B9.subtract(Recorte_ext_B9)
  Solda_top_B9 [SAC305] = cylinder(axis=Z, base_centre=(14.96907785mm, 21.8894523mm, 1.52mm), radius=0.74mm, height=0.17mm, segments=24)
  GND.subtract(Abertura_A_IN, Abertura_A1..Abertura_A9, Abertura_B_IN, Abertura_B1..Abertura_B9)
  Pino_A_IN_1 = Pino_A_IN.copy()
  Pino_A1_1 = Pino_A1.copy()
  Pino_A2_1 = Pino_A2.copy()
  Pino_A3_1 = Pino_A3.copy()
  Pino_A4_1 = Pino_A4.copy()
  Pino_A5_1 = Pino_A5.copy()
  Pino_A6_1 = Pino_A6.copy()
  Pino_A7_1 = Pino_A7.copy()
  Pino_A8_1 = Pino_A8.copy()
  Pino_A9_1 = Pino_A9.copy()
  Pino_B_IN_1 = Pino_B_IN.copy()
  Pino_B1_1 = Pino_B1.copy()
  Pino_B2_1 = Pino_B2.copy()
  Pino_B3_1 = Pino_B3.copy()
  Pino_B4_1 = Pino_B4.copy()
  Pino_B5_1 = Pino_B5.copy()
  Pino_B6_1 = Pino_B6.copy()
  Pino_B7_1 = Pino_B7.copy()
  Pino_B8_1 = Pino_B8.copy()
  Pino_B9_1 = Pino_B9.copy()
  Laminado.subtract(Pino_A_IN_1, Pino_A1_1, Pino_A2_1, Pino_A3_1, Pino_A4_1, Pino_A5_1, Pino_A6_1, Pino_A7_1, Pino_A8_1, Pino_A9_1, Pino_B_IN_1, Pino_B1_1, Pino_B2_1, Pino_B3_1, Pino_B4_1, Pino_B5_1, Pino_B6_1, Pino_B7_1, Pino_B8_1, Pino_B9_1)
  Porta_A_IN = circle(normal=Z, centre=(0mm, -19.25mm, -1.5mm), radius=1.515mm, segments=24)
  Buraco_A_IN = circle(normal=Z, centre=(0mm, -19.25mm, -1.5mm), radius=0.45975mm, segments=24)
  Porta_A_IN.subtract(Buraco_A_IN)
  Porta_A1 = circle(normal=Z, centre=(-14.96907785mm, -16.6105477mm, -1.5mm), radius=1.515mm, segments=24)
  Buraco_A1 = circle(normal=Z, centre=(-14.96907785mm, -16.6105477mm, -1.5mm), radius=0.45975mm, segments=24)
  Porta_A1.subtract(Buraco_A1)
  Porta_A2 = circle(normal=Z, centre=(-13.16358614mm, -26.85mm, -1.5mm), radius=1.515mm, segments=24)
  Buraco_A2 = circle(normal=Z, centre=(-13.16358614mm, -26.85mm, -1.5mm), radius=0.45975mm, segments=24)
  Porta_A2.subtract(Buraco_A2)
  Porta_A3 = circle(normal=Z, centre=(-9.77037167mm, -7.60612446mm, -1.5mm), radius=1.515mm, segments=24)
  Buraco_A3 = circle(normal=Z, centre=(-9.77037167mm, -7.60612446mm, -1.5mm), radius=0.45975mm, segments=24)
  Porta_A3.subtract(Buraco_A3)
  Porta_A4 = circle(normal=Z, centre=(-5.19870618mm, -33.53332784mm, -1.5mm), radius=1.515mm, segments=24)
  Buraco_A4 = circle(normal=Z, centre=(-5.19870618mm, -33.53332784mm, -1.5mm), radius=0.45975mm, segments=24)
  Porta_A4.subtract(Buraco_A4)
  Porta_A5 = circle(normal=Z, centre=(0mm, -4.05mm, -1.5mm), radius=1.515mm, segments=24)
  Buraco_A5 = circle(normal=Z, centre=(0mm, -4.05mm, -1.5mm), radius=0.45975mm, segments=24)
  Porta_A5.subtract(Buraco_A5)
  Porta_A6 = circle(normal=Z, centre=(5.19870618mm, -33.53332784mm, -1.5mm), radius=1.515mm, segments=24)
  Buraco_A6 = circle(normal=Z, centre=(5.19870618mm, -33.53332784mm, -1.5mm), radius=0.45975mm, segments=24)
  Porta_A6.subtract(Buraco_A6)
  Porta_A7 = circle(normal=Z, centre=(9.77037167mm, -7.60612446mm, -1.5mm), radius=1.515mm, segments=24)
  Buraco_A7 = circle(normal=Z, centre=(9.77037167mm, -7.60612446mm, -1.5mm), radius=0.45975mm, segments=24)
  Porta_A7.subtract(Buraco_A7)
  Porta_A8 = circle(normal=Z, centre=(13.16358614mm, -26.85mm, -1.5mm), radius=1.515mm, segments=24)
  Buraco_A8 = circle(normal=Z, centre=(13.16358614mm, -26.85mm, -1.5mm), radius=0.45975mm, segments=24)
  Porta_A8.subtract(Buraco_A8)
  Porta_A9 = circle(normal=Z, centre=(14.96907785mm, -16.6105477mm, -1.5mm), radius=1.515mm, segments=24)
  Buraco_A9 = circle(normal=Z, centre=(14.96907785mm, -16.6105477mm, -1.5mm), radius=0.45975mm, segments=24)
  Porta_A9.subtract(Buraco_A9)
  Porta_B_IN = circle(normal=Z, centre=(0mm, 19.25mm, -1.5mm), radius=1.515mm, segments=24)
  Buraco_B_IN = circle(normal=Z, centre=(0mm, 19.25mm, -1.5mm), radius=0.45975mm, segments=24)
  Porta_B_IN.subtract(Buraco_B_IN)
  Porta_B1 = circle(normal=Z, centre=(-14.96907785mm, 21.8894523mm, -1.5mm), radius=1.515mm, segments=24)
  Buraco_B1 = circle(normal=Z, centre=(-14.96907785mm, 21.8894523mm, -1.5mm), radius=0.45975mm, segments=24)
  Porta_B1.subtract(Buraco_B1)
  Porta_B2 = circle(normal=Z, centre=(-13.16358614mm, 11.65mm, -1.5mm), radius=1.515mm, segments=24)
  Buraco_B2 = circle(normal=Z, centre=(-13.16358614mm, 11.65mm, -1.5mm), radius=0.45975mm, segments=24)
  Porta_B2.subtract(Buraco_B2)
  Porta_B3 = circle(normal=Z, centre=(-9.77037167mm, 30.89387554mm, -1.5mm), radius=1.515mm, segments=24)
  Buraco_B3 = circle(normal=Z, centre=(-9.77037167mm, 30.89387554mm, -1.5mm), radius=0.45975mm, segments=24)
  Porta_B3.subtract(Buraco_B3)
  Porta_B4 = circle(normal=Z, centre=(-5.19870618mm, 4.96667216mm, -1.5mm), radius=1.515mm, segments=24)
  Buraco_B4 = circle(normal=Z, centre=(-5.19870618mm, 4.96667216mm, -1.5mm), radius=0.45975mm, segments=24)
  Porta_B4.subtract(Buraco_B4)
  Porta_B5 = circle(normal=Z, centre=(0mm, 34.45mm, -1.5mm), radius=1.515mm, segments=24)
  Buraco_B5 = circle(normal=Z, centre=(0mm, 34.45mm, -1.5mm), radius=0.45975mm, segments=24)
  Porta_B5.subtract(Buraco_B5)
  Porta_B6 = circle(normal=Z, centre=(5.19870618mm, 4.96667216mm, -1.5mm), radius=1.515mm, segments=24)
  Buraco_B6 = circle(normal=Z, centre=(5.19870618mm, 4.96667216mm, -1.5mm), radius=0.45975mm, segments=24)
  Porta_B6.subtract(Buraco_B6)
  Porta_B7 = circle(normal=Z, centre=(9.77037167mm, 30.89387554mm, -1.5mm), radius=1.515mm, segments=24)
  Buraco_B7 = circle(normal=Z, centre=(9.77037167mm, 30.89387554mm, -1.5mm), radius=0.45975mm, segments=24)
  Porta_B7.subtract(Buraco_B7)
  Porta_B8 = circle(normal=Z, centre=(13.16358614mm, 11.65mm, -1.5mm), radius=1.515mm, segments=24)
  Buraco_B8 = circle(normal=Z, centre=(13.16358614mm, 11.65mm, -1.5mm), radius=0.45975mm, segments=24)
  Porta_B8.subtract(Buraco_B8)
  Porta_B9 = circle(normal=Z, centre=(14.96907785mm, 21.8894523mm, -1.5mm), radius=1.515mm, segments=24)
  Buraco_B9 = circle(normal=Z, centre=(14.96907785mm, 21.8894523mm, -1.5mm), radius=0.45975mm, segments=24)
  Porta_B9.subtract(Buraco_B9)
  RadiatingSurface [vacuum] = region(absolute_offset=19.646365mm on all sides)
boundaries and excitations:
  Cobre_35um: Finite Conductivity Objects=[GND, Estrela_B, Estrela_A, Anel_A_IN, Anel_A1..Anel_A9, Anel_B_IN, Anel_B1..Anel_B9] UseMaterial Material=copper Thickness=0.035mm Roughness=0.5um IsInternal
  Open1: Radiation Objects=RadiatingSurface
  A_IN: Lumped Port Objects=Porta_A_IN LumpedPortType=Modal Modes{Mode1{IntLine{(0.45975, -19.25, -1.5) -> (1.515, -19.25, -1.5)} CharImp=Zpi RenormImp=50ohm}} Impedance=50ohm
  A1: Lumped Port Objects=Porta_A1 LumpedPortType=Modal Modes{Mode1{IntLine{(-14.50932785, -16.6105477, -1.5) -> (-13.45407785, -16.6105477, -1.5)} CharImp=Zpi RenormImp=50ohm}} Impedance=50ohm
  A2: Lumped Port Objects=Porta_A2 LumpedPortType=Modal Modes{Mode1{IntLine{(-12.70383614, -26.85, -1.5) -> (-11.64858614, -26.85, -1.5)} CharImp=Zpi RenormImp=50ohm}} Impedance=50ohm
  A3: Lumped Port Objects=Porta_A3 LumpedPortType=Modal Modes{Mode1{IntLine{(-9.31062167, -7.60612446, -1.5) -> (-8.25537167, -7.60612446, -1.5)} CharImp=Zpi RenormImp=50ohm}} Impedance=50ohm
  A4: Lumped Port Objects=Porta_A4 LumpedPortType=Modal Modes{Mode1{IntLine{(-4.73895618, -33.53332784, -1.5) -> (-3.68370618, -33.53332784, -1.5)} CharImp=Zpi RenormImp=50ohm}} Impedance=50ohm
  A5: Lumped Port Objects=Porta_A5 LumpedPortType=Modal Modes{Mode1{IntLine{(0.45975, -4.05, -1.5) -> (1.515, -4.05, -1.5)} CharImp=Zpi RenormImp=50ohm}} Impedance=50ohm
  A6: Lumped Port Objects=Porta_A6 LumpedPortType=Modal Modes{Mode1{IntLine{(5.65845618, -33.53332784, -1.5) -> (6.71370618, -33.53332784, -1.5)} CharImp=Zpi RenormImp=50ohm}} Impedance=50ohm
  A7: Lumped Port Objects=Porta_A7 LumpedPortType=Modal Modes{Mode1{IntLine{(10.23012167, -7.60612446, -1.5) -> (11.28537167, -7.60612446, -1.5)} CharImp=Zpi RenormImp=50ohm}} Impedance=50ohm
  A8: Lumped Port Objects=Porta_A8 LumpedPortType=Modal Modes{Mode1{IntLine{(13.62333614, -26.85, -1.5) -> (14.67858614, -26.85, -1.5)} CharImp=Zpi RenormImp=50ohm}} Impedance=50ohm
  A9: Lumped Port Objects=Porta_A9 LumpedPortType=Modal Modes{Mode1{IntLine{(15.42882785, -16.6105477, -1.5) -> (16.48407785, -16.6105477, -1.5)} CharImp=Zpi RenormImp=50ohm}} Impedance=50ohm
  B_IN: Lumped Port Objects=Porta_B_IN LumpedPortType=Modal Modes{Mode1{IntLine{(0.45975, 19.25, -1.5) -> (1.515, 19.25, -1.5)} CharImp=Zpi RenormImp=50ohm}} Impedance=50ohm
  B1: Lumped Port Objects=Porta_B1 LumpedPortType=Modal Modes{Mode1{IntLine{(-14.50932785, 21.8894523, -1.5) -> (-13.45407785, 21.8894523, -1.5)} CharImp=Zpi RenormImp=50ohm}} Impedance=50ohm
  B2: Lumped Port Objects=Porta_B2 LumpedPortType=Modal Modes{Mode1{IntLine{(-12.70383614, 11.65, -1.5) -> (-11.64858614, 11.65, -1.5)} CharImp=Zpi RenormImp=50ohm}} Impedance=50ohm
  B3: Lumped Port Objects=Porta_B3 LumpedPortType=Modal Modes{Mode1{IntLine{(-9.31062167, 30.89387554, -1.5) -> (-8.25537167, 30.89387554, -1.5)} CharImp=Zpi RenormImp=50ohm}} Impedance=50ohm
  B4: Lumped Port Objects=Porta_B4 LumpedPortType=Modal Modes{Mode1{IntLine{(-4.73895618, 4.96667216, -1.5) -> (-3.68370618, 4.96667216, -1.5)} CharImp=Zpi RenormImp=50ohm}} Impedance=50ohm
  B5: Lumped Port Objects=Porta_B5 LumpedPortType=Modal Modes{Mode1{IntLine{(0.45975, 34.45, -1.5) -> (1.515, 34.45, -1.5)} CharImp=Zpi RenormImp=50ohm}} Impedance=50ohm
  B6: Lumped Port Objects=Porta_B6 LumpedPortType=Modal Modes{Mode1{IntLine{(5.65845618, 4.96667216, -1.5) -> (6.71370618, 4.96667216, -1.5)} CharImp=Zpi RenormImp=50ohm}} Impedance=50ohm
  B7: Lumped Port Objects=Porta_B7 LumpedPortType=Modal Modes{Mode1{IntLine{(10.23012167, 30.89387554, -1.5) -> (11.28537167, 30.89387554, -1.5)} CharImp=Zpi RenormImp=50ohm}} Impedance=50ohm
  B8: Lumped Port Objects=Porta_B8 LumpedPortType=Modal Modes{Mode1{IntLine{(13.62333614, 11.65, -1.5) -> (14.67858614, 11.65, -1.5)} CharImp=Zpi RenormImp=50ohm}} Impedance=50ohm
  B9: Lumped Port Objects=Porta_B9 LumpedPortType=Modal Modes{Mode1{IntLine{(15.42882785, 21.8894523, -1.5) -> (16.48407785, 21.8894523, -1.5)} CharImp=Zpi RenormImp=50ohm}} Impedance=50ohm
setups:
  Divisor: HfssDriven Frequency=5.17GHz MaxDeltaS=0.015 MaximumPasses=14 MinimumPasses=2 MinimumConvergedPasses=1 PercentRefinement=28 BasisOrder=1 PortAccuracy=2 DrivenSolverType="Direct Solver"
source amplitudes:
  A_IN:1: 1W 0deg
  A1:1, A2:1, A3:1, A4:1, A5:1, A6:1, A7:1, A8:1, A9:1, B_IN:1, B1:1, B2:1, B3:1, B4:1, B5:1, B6:1, B7:1, B8:1, B9:1: 0W 0deg
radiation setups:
  3D: Infinite Sphere Theta=0deg..180deg step 2deg Phi=-180deg..180deg step 2deg
  Elevation: Infinite Sphere Theta=-180deg..180deg step 1deg Phi=0deg..90deg step 90deg
  Azimuth: Infinite Sphere Theta=90deg..90deg step 0deg Phi=-180deg..180deg step 1deg
